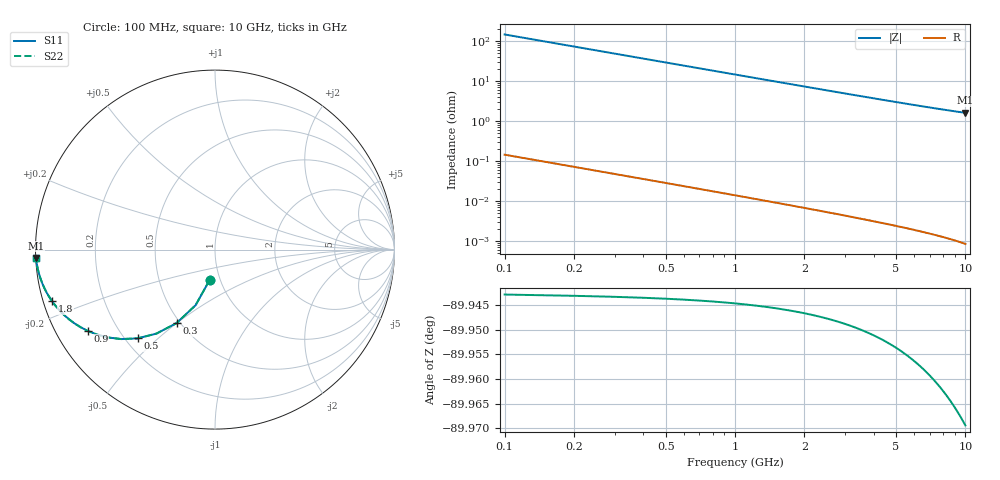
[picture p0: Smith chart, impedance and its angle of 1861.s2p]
# Hz S RI R 50.00
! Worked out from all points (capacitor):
!   100 points, 100 MHz to 10 GHz, reference 50 ohm
!   read as one part in shunt: C = 11.1 pF near 100 MHz
!   lowest |Z| = 1.59 ohm at 10 GHz (marker M1)
!   S11 on the Smith chart (normalised r, x): 100 MHz: 0.89, -0.31; 300 MHz: 0.48, -0.50; 500 MHz: 0.25, -0.43; 900 MHz: 0.09, -0.29; 1.8 GHz: 0.03, -0.15; 10 GHz: 0.00, -0.02
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1e8  -0.0295 -0.1687  0.9704 -0.1689  0.9704 -0.1689  -0.0295 -0.1687
2e8  -0.1082 -0.31  0.8917 -0.3103  0.8917 -0.3103  -0.1082 -0.31
3e8  -0.2143 -0.4096  0.7856 -0.4101  0.7856 -0.4101  -0.2143 -0.4096
4e8  -0.3264 -0.4681  0.6735 -0.4687  0.6735 -0.4687  -0.3264 -0.4681
5e8  -0.4308 -0.4943  0.5692 -0.4951  0.5692 -0.4951  -0.4308 -0.4943
6e8  -0.5214 -0.4986  0.4786 -0.4995  0.4786 -0.4995  -0.5214 -0.4986
7e8  -0.5971 -0.4894  0.4029 -0.4905  0.4029 -0.4905  -0.5971 -0.4894
8e8  -0.6593 -0.4728  0.3407 -0.474  0.3407 -0.474  -0.6593 -0.4728
9e8  -0.71 -0.4526  0.29 -0.4539  0.29 -0.4539  -0.71 -0.4526
1.1e9  -0.7852 -0.4094  0.2148 -0.411  0.2148 -0.411  -0.7852 -0.4094
1.3e9  -0.8361 -0.3687  0.1638 -0.3706  0.1638 -0.3706  -0.8361 -0.3687
1.5e9  -0.8716 -0.3328  0.1283 -0.3351  0.1283 -0.3351  -0.8716 -0.3328
1.8e9  -0.9071 -0.2883  0.0928 -0.291  0.0928 -0.291  -0.9071 -0.2883
2.1e9  -0.93 -0.253  0.0699 -0.2561  0.0699 -0.2561  -0.93 -0.253
2.5e9  -0.9496 -0.2164  0.0504 -0.2202  0.0504 -0.2202  -0.9496 -0.2164
2.9e9  -0.962 -0.1884  0.0379 -0.1928  0.0379 -0.1928  -0.962 -0.1884
3.4e9  -0.9721 -0.1616  0.0279 -0.1667  0.0279 -0.1667  -0.9721 -0.1616
4.2e9  -0.9815 -0.1308  0.0184 -0.1372  0.0184 -0.1372  -0.9815 -0.1308
5.1e9  -0.9874 -0.1068  0.0125 -0.1146  0.0125 -0.1146  -0.9874 -0.1068
6.7e9  -0.9927 -0.0789  0.00717 -0.0894  0.00717 -0.0894  -0.9927 -0.0789
8.4e9  -0.9954 -0.06  0.00446 -0.0733  0.00446 -0.0733  -0.9954 -0.06
1e10  -0.9968 -0.0473  0.00304 -0.0634  0.00304 -0.0634  -0.9968 -0.0473
